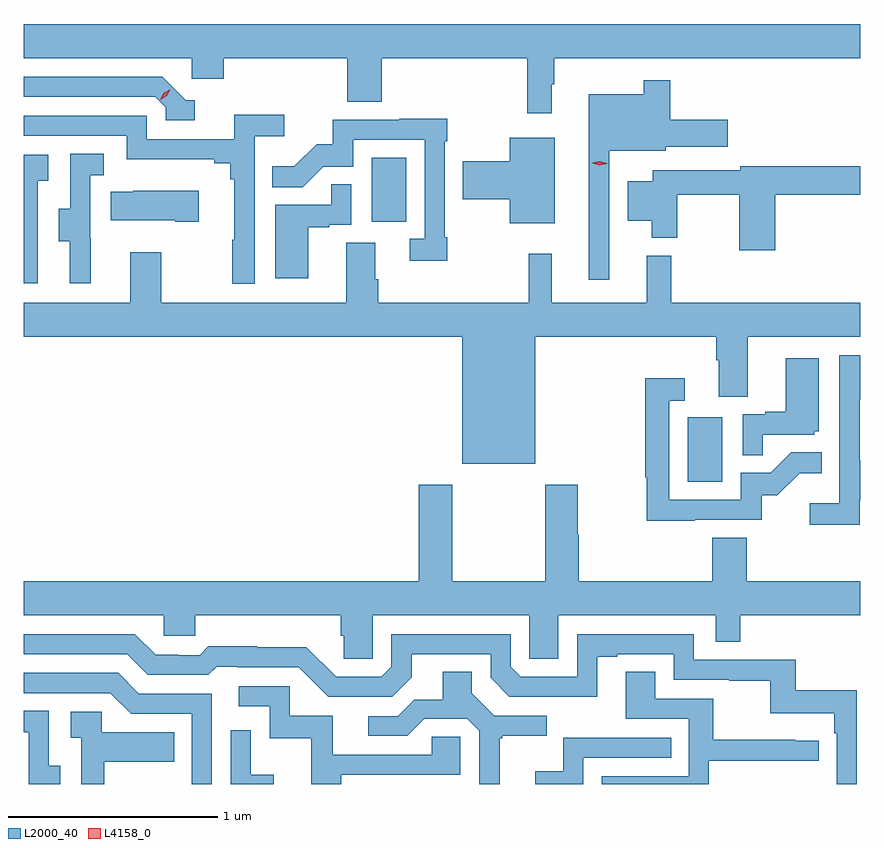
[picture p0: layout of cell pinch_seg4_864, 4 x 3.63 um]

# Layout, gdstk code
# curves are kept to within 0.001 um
import gdstk
lib = gdstk.Library(unit=1e-6, precision=1e-09)
def R(c, l, rs):  # rectangles x0, y0, x1, y1
    for r in rs: c.add(gdstk.rectangle(r[:2], r[2:], *l))
def P(c, l, *ps):  # polygons
    for p in ps: c.add(gdstk.Polygon(p, *l))
L2000_40 = (2000, 40)
L4158_0 = (4158, 0)

pinch_seg4_864 = lib.new_cell('pinch_seg4_864')
R(pinch_seg4_864, L2000_40, [(845.306,802.788,845.47,803.095), (843.794,804.03,843.958,804.337)])
P(pinch_seg4_864, L2000_40, [(844.654,804.689),(844.666,804.689),(844.666,804.812),(846.13,804.812),(846.13,804.976),(842.13,804.976),(842.13,804.812),(842.934,804.812),(842.934,804.714),(843.086,804.714),(843.086,804.812),(843.677,804.812),(843.677,804.604),(843.842,804.604),(843.842,804.812),(844.537,804.812),(844.537,804.549),(844.654,804.549)],
  [(842.947,804.612),(842.904,804.612),(842.793,804.723),(842.13,804.723),(842.13,804.627),(842.76,804.627),(842.808,804.579),(842.808,804.516),(842.947,804.516)],
  [(844.929,804.371),(845.199,804.371),(845.199,804.389),(845.497,804.389),(845.497,804.519),(845.222,804.519),(845.222,804.706),(845.094,804.706),(845.094,804.64),(844.832,804.64),(844.832,803.754),(844.929,803.754)],
  [(843.234,804.44),(843.376,804.44),(843.376,804.542),(843.137,804.542),(843.137,804.426),(842.718,804.426),(842.718,804.537),(842.13,804.537),(842.13,804.441),(842.622,804.441),(842.622,804.329),(843.041,804.329),(843.041,804.31),(843.118,804.31),(843.118,804.233),(843.137,804.233),(843.137,803.945),(843.126,803.945),(843.126,803.733),(843.234,803.733)],
  [(844.156,803.956),(844.143,803.956),(844.143,804.416),(844.156,804.416),(844.156,804.524),(843.925,804.524),(843.925,804.519),(843.607,804.519),(843.607,804.402),(843.53,804.402),(843.423,804.295),(843.319,804.295),(843.319,804.196),(843.463,804.196),(843.561,804.294),(843.705,804.294),(843.705,804.423),(844.047,804.423),(844.047,803.949),(843.975,803.949),(843.975,803.844),(844.156,803.844)],
  [(844.669,804.433),(844.454,804.433),(844.454,804.32),(844.23,804.32),(844.23,804.137),(844.454,804.137),(844.454,804.023),(844.669,804.023)],
  [(842.45,803.949),(842.448,803.949),(842.448,804.253),(842.512,804.253),(842.512,804.356),(842.352,804.356),(842.352,804.093),(842.297,804.093),(842.297,803.938),(842.351,803.938),(842.351,803.736),(842.45,803.736)],
  [(842.196,804.227),(842.248,804.227),(842.248,804.351),(842.13,804.351),(842.13,803.736),(842.196,803.736)],
  [(845.723,804.16),(846.13,804.16),(846.13,804.296),(845.556,804.296),(845.556,804.276),(845.138,804.276),(845.138,804.223),(845.018,804.223),(845.018,804.035),(845.132,804.035),(845.132,803.954),(845.254,803.954),(845.254,804.16),(845.552,804.16),(845.552,803.895),(845.723,803.895)],
  [(843.49,804.003),(843.59,804.003),(843.59,804.015),(843.696,804.015),(843.696,804.209),(843.601,804.209),(843.601,804.111),(843.332,804.111),(843.332,803.76),(843.49,803.76)],
  [(842.968,804.178),(842.653,804.178),(842.653,804.175),(842.545,804.175),(842.545,804.038),(842.855,804.038),(842.855,804.031),(842.968,804.031)],
  [(844.576,803.48),(845.441,803.48),(845.441,803.368),(845.453,803.368),(845.453,803.194),(845.593,803.194),(845.593,803.48),(846.13,803.48),(846.13,803.644),(845.225,803.644),(845.225,803.869),(845.108,803.869),(845.108,803.644),(844.655,803.644),(844.655,803.878),(844.545,803.878),(844.545,803.644),(843.824,803.644),(843.824,803.756),(843.811,803.756),(843.811,803.93),(843.671,803.93),(843.671,803.644),(842.787,803.644),(842.787,803.884),(842.639,803.884),(842.639,803.644),(842.13,803.644),(842.13,803.48),(844.226,803.48),(844.226,802.874),(844.576,802.874)],
  [(846.128,802.698),(846.13,802.698),(846.13,802.891),(846.127,802.891),(846.127,803.179),(846.13,803.179),(846.13,803.392),(846.03,803.392),(846.03,802.684),(845.889,802.684),(845.889,802.582),(846.128,802.582)],
  [(845.663,803.013),(845.91,803.013),(845.91,803.028),(845.932,803.028),(845.932,803.377),(845.774,803.377),(845.774,803.122),(845.675,803.122),(845.675,803.109),(845.568,803.109),(845.568,802.915),(845.663,802.915)],
  [(845.339,802.605),(845.658,802.605),(845.658,802.722),(845.734,802.722),(845.841,802.829),(845.945,802.829),(845.945,802.928),(845.801,802.928),(845.703,802.83),(845.559,802.83),(845.559,802.701),(845.217,802.701),(845.217,803.175),(845.29,803.175),(845.29,803.281),(845.101,803.281),(845.101,802.808),(845.109,802.808),(845.109,802.6),(845.339,802.6)],
  [(843.798,802.148),(844.548,802.148),(844.548,801.94),(844.687,801.94),(844.687,802.148),(845.439,802.148),(845.439,802.021),(845.555,802.021),(845.555,802.148),(846.13,802.148),(846.13,802.312),(845.588,802.312),(845.588,802.52),(845.423,802.52),(845.423,802.312),(844.784,802.312),(844.784,802.535),(844.779,802.535),(844.779,802.774),(844.624,802.774),(844.624,802.312),(844.179,802.312),(844.179,802.774),(844.019,802.774),(844.019,802.312),(842.13,802.312),(842.13,802.148),(842.799,802.148),(842.799,802.05),(842.949,802.05),(842.949,802.148),(843.647,802.148),(843.647,802.05),(843.661,802.05),(843.661,801.94),(843.798,801.94)],
  [(846.114,801.79),(845.821,801.79),(845.821,801.936),(845.334,801.936),(845.334,802.059),(844.776,802.059),(844.776,801.855),(844.506,801.855),(844.458,801.903),(844.458,802.059),(843.888,802.059),(843.888,801.903),(843.84,801.855),(843.624,801.855),(843.482,801.997),(843.246,801.997),(843.246,802),(843.013,802),(842.971,801.957),(842.868,801.957),(842.868,801.96),(842.761,801.96),(842.662,802.059),(842.13,802.059),(842.13,801.963),(842.625,801.963),(842.724,801.864),(843.013,801.864),(843.052,801.903),(843.151,801.903),(843.151,801.9),(843.444,801.9),(843.585,801.759),(843.891,801.759),(843.985,801.853),(843.985,801.963),(844.362,801.963),(844.362,801.849),(844.452,801.759),(844.873,801.758),(844.873,801.951),(844.969,801.951),(844.969,801.963),(845.238,801.963),(845.238,801.84),(845.503,801.84),(845.503,801.835),(845.7,801.835),(845.7,801.68),(846.005,801.68),(846.005,801.584),(846.018,801.584),(846.018,801.342),(846.114,801.342)],
  [(845.406,801.453),(845.932,801.453),(845.932,801.549),(845.819,801.549),(845.819,801.554),(845.426,801.554),(845.426,801.75),(845.149,801.75),(845.149,801.878),(845.009,801.878),(845.009,801.654),(845.31,801.654),(845.31,801.378),(844.894,801.378),(844.894,801.342),(845.406,801.342)],
  [(844.405,801.561),(844.417,801.561),(844.417,801.572),(844.63,801.572),(844.63,801.669),(844.38,801.669),(844.273,801.776),(844.273,801.878),(844.133,801.878),(844.133,801.746),(843.998,801.746),(843.918,801.666),(843.777,801.666),(843.777,801.573),(843.964,801.573),(844.045,801.654),(844.251,801.654),(844.308,801.597),(844.308,801.342),(844.405,801.342)],
  [(843.03,801.774),(842.68,801.774),(842.581,801.873),(842.13,801.873),(842.13,801.777),(842.544,801.777),(842.643,801.678),(842.934,801.678),(842.934,801.342),(843.03,801.342)],
  [(843.649,801.387),(844.218,801.387),(844.218,801.567),(844.081,801.567),(844.081,801.483),(843.607,801.483),(843.607,801.669),(843.402,801.669),(843.402,801.81),(843.159,801.81),(843.159,801.714),(843.306,801.714),(843.306,801.561),(843.505,801.561),(843.505,801.342),(843.649,801.342)],
  [(842.305,801.429),(842.25,801.429),(842.25,801.692),(842.13,801.692),(842.13,801.589),(842.154,801.589),(842.154,801.342),(842.305,801.342)],
  [(842.515,801.449),(842.849,801.449),(842.849,801.589),(842.502,801.589),(842.502,801.687),(842.355,801.687),(842.355,801.563),(842.406,801.563),(842.406,801.342),(842.515,801.342)],
  [(843.326,801.386),(843.216,801.386),(843.216,801.598),(843.12,801.598),(843.12,801.342),(843.326,801.342)],
  [(844.806,801.468),(845.225,801.468),(845.225,801.564),(844.71,801.564),(844.71,801.403),(844.577,801.403),(844.577,801.342),(844.806,801.342)])
P(pinch_seg4_864, L4158_0, [(844.883,804.3),(844.848,804.311),(844.848,804.312),(844.848,804.312),(844.884,804.32),(844.919,804.309),(844.919,804.308),(844.919,804.308)],
  [(842.783,804.613),(842.783,804.614),(842.8,804.646),(842.831,804.665),(842.831,804.665),(842.831,804.665),(842.815,804.632),(842.784,804.613)])

lib.write_gds('pinch_seg4_864.gds')
